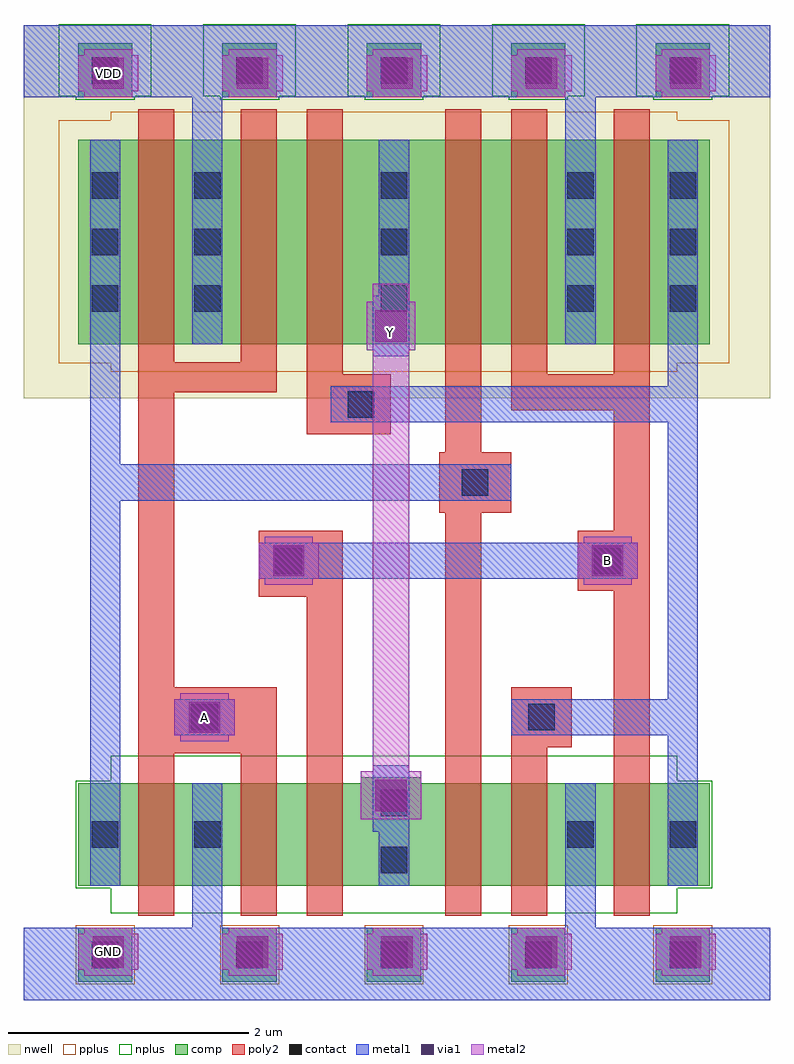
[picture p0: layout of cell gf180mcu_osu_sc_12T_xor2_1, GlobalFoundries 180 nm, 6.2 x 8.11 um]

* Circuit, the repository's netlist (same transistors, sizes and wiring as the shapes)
* HSPICE file created from gf180mcu_osu_sc_12T_xor2_1.ext - technology: gf180mcuC

.inc "../../../char/techfiles/design.hspice"
.lib "../../../char/techfiles/sm141064.hspice" typical

.GLOBAL VDD
.GLOBAL GND

.option scale=0.05u

.subckt gf180mcu_osu_sc_12T_xor2_1 A Y B
X0 Y B a_42_16 GND nmos_3p3 w=17 l=6
X1 VDD B a_76_106 VDD pmos_3p3 w=34 l=6
X2 a_47_91 B VDD VDD pmos_3p3 w=34 l=6
X3 a_76_106 a_9_16 Y VDD pmos_3p3 w=34 l=6
X4 Y a_47_91 a_42_106 VDD pmos_3p3 w=34 l=6
X5 a_42_106 A VDD VDD pmos_3p3 w=34 l=6
X6 VDD A a_9_16 VDD pmos_3p3 w=34 l=6
X7 GND A a_9_16 GND nmos_3p3 w=17 l=6
X8 a_76_16 a_9_16 Y GND nmos_3p3 w=17 l=6
X9 a_42_16 A GND GND nmos_3p3 w=17 l=6
X10 a_47_91 B GND GND nmos_3p3 w=17 l=6
X11 GND a_47_91 a_76_16 GND nmos_3p3 w=17 l=6
.ends

** hspice subcircuit dictionary

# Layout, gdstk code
import gdstk
lib = gdstk.Library(unit=1e-6, precision=1e-09)
def R(c, l, rs):  # rectangles x0, y0, x1, y1
    for r in rs: c.add(gdstk.rectangle(r[:2], r[2:], *l))
def A(c, l, x, y, w, h, nx, ny, dx, dy):  # array of equal rectangles
    R(c, l, [(x+i*dx, y+j*dy, x+i*dx+w, y+j*dy+h) for i in range(nx) for j in range(ny)])
nwell = (21, 0)
comp = (22, 0)
poly2 = (30, 0)
pplus = (31, 0)
nplus = (32, 0)
contact = (33, 0)
metal1 = (34, 0)
via1 = (35, 0)
metal2 = (36, 0)

gf180mcu_osu_sc_12t_xor2 = lib.new_cell('gf180mcu_osu_sc_12T_xor2_1')
R(gf180mcu_osu_sc_12t_xor2, nwell, [(0,4.85,6.2,7.95)])
A(gf180mcu_osu_sc_12t_xor2, comp, 0.45, 0, 0.45, 0.45, 5, 2, 1.2, 7.35)
R(gf180mcu_osu_sc_12t_xor2, comp, [(0.45,0.8,5.7,1.65), (2.8,1.65,3.3,1.7), (0.45,5.3,5.7,7)])
R(gf180mcu_osu_sc_12t_xor2, poly2, [(0.95,0.55,1.25,1.9), (1.8,0.55,2.1,1.9), (2.35,0.55,2.65,3.2), (3.5,0.55,3.8,3.9), (4.05,0.55,4.35,1.95), (4.9,0.55,5.2,3.25), (0.95,1.9,2.1,2.45), (4.05,1.95,4.55,2.45), (0.95,2.45,1.25,4.9), (1.95,3.2,2.65,3.75), (4.6,3.25,5.2,3.75), (4.9,3.75,5.2,4.75), (3.45,3.9,4.05,4.4), (3.5,4.4,3.8,7.25), (2.35,4.55,3.05,5.05), (4.05,4.75,5.2,5.05), (0.95,4.9,2.1,5.15), (2.35,5.05,2.65,7.25), (4.05,5.05,4.35,7.25), (4.9,5.05,5.2,7.25), (0.95,5.15,1.25,7.25), (1.8,5.15,2.1,7.25)])
A(gf180mcu_osu_sc_12t_xor2, pplus, 0.43, -0.02, 0.49, 0.49, 5, 1, 1.2, 0)
R(gf180mcu_osu_sc_12t_xor2, pplus, [(0.72,5.07,5.43,5.14), (0.29,5.14,5.86,7.16), (0.72,7.16,5.43,7.23)])
A(gf180mcu_osu_sc_12t_xor2, nplus, 0.43, 7.33, 0.49, 0.03, 5, 1, 1.2, 0)
A(gf180mcu_osu_sc_12t_xor2, nplus, 0.29, 7.36, 0.77, 0.6, 5, 1, 1.2, 0)
R(gf180mcu_osu_sc_12t_xor2, nplus, [(0.72,0.57,5.43,0.78), (0.43,0.78,5.72,1.67), (0.72,1.67,5.43,1.88)])
A(gf180mcu_osu_sc_12t_xor2, contact, 0.565, 0.115, 0.22, 0.22, 5, 2, 1.2, 7.35)
A(gf180mcu_osu_sc_12t_xor2, contact, 0.565, 5.57, 0.22, 0.22, 1, 3, 0, 0.47)
A(gf180mcu_osu_sc_12t_xor2, contact, 1.415, 5.57, 0.22, 0.22, 3, 3, 1.55, 0.47)
A(gf180mcu_osu_sc_12t_xor2, contact, 5.365, 5.57, 0.22, 0.22, 1, 3, 0, 0.47)
R(gf180mcu_osu_sc_12t_xor2, contact, [(2.965,0.905,3.185,1.125), (0.565,1.115,0.785,1.335), (1.415,1.115,1.635,1.335), (4.515,1.115,4.735,1.335), (5.365,1.115,5.585,1.335), (2.965,1.375,3.185,1.595), (1.39,2.09,1.61,2.31), (4.19,2.09,4.41,2.31), (2.09,3.39,2.31,3.61), (4.74,3.39,4.96,3.61), (3.64,4.04,3.86,4.26), (2.69,4.69,2.91,4.91)])
R(gf180mcu_osu_sc_12t_xor2, metal1, [(0,-0.15,6.2,0.45), (1.4,0.45,1.65,1.65), (4.5,0.45,4.75,1.65), (0.55,0.8,0.8,4), (2.95,0.8,3.2,1.25), (5.35,0.8,5.6,2.05), (2.9,1.25,3.2,1.8), (1.25,2.05,1.75,2.35), (4.05,2.05,5.6,2.35), (5.35,2.35,5.6,4.65), (1.95,3.35,5.1,3.65), (0.55,4,4.05,4.3), (0.55,4.3,0.8,7), (2.55,4.65,5.6,4.95), (5.35,4.95,5.6,7), (2.9,5.2,3.2,5.7), (1.4,5.3,1.65,7.35), (4.5,5.3,4.75,7.35), (2.95,5.7,3.2,7), (0,7.35,6.2,7.95)])
A(gf180mcu_osu_sc_12t_xor2, via1, 0.57, 0.12, 0.26, 0.26, 5, 2, 1.2, 7.3)
R(gf180mcu_osu_sc_12t_xor2, via1, [(2.92,1.42,3.18,1.68), (1.37,2.07,1.63,2.33), (2.07,3.37,2.33,3.63), (4.72,3.37,4.98,3.63), (2.92,5.32,3.18,5.58)])
A(gf180mcu_osu_sc_12t_xor2, metal2, 0.5, 0.05, 0.4, 0.05, 5, 2, 1.2, 0.35)
A(gf180mcu_osu_sc_12t_xor2, metal2, 0.45, 0.1, 0.5, 0.3, 5, 2, 1.2, 7.3)
A(gf180mcu_osu_sc_12t_xor2, metal2, 0.5, 7.35, 0.4, 0.05, 5, 2, 1.2, 0.35)
R(gf180mcu_osu_sc_12t_xor2, metal2, [(2.8,1.35,3.3,1.75), (2.9,1.75,3.2,5.25), (1.3,2,1.7,2.05), (1.25,2.05,1.75,2.35), (1.3,2.35,1.7,2.4), (2,3.3,2.4,3.35), (4.65,3.3,5.05,3.35), (1.95,3.35,2.45,3.65), (4.6,3.35,5.1,3.65), (2,3.65,2.4,3.7), (4.65,3.65,5.05,3.7), (2.85,5.25,3.25,5.65), (2.9,5.65,3.2,5.8)])
gf180mcu_osu_sc_12t_xor2.add(gdstk.Label('VDD', (0.7,7.55), layer=36, texttype=0))
gf180mcu_osu_sc_12t_xor2.add(gdstk.Label('GND', (0.7,0.25), layer=36, texttype=0))
gf180mcu_osu_sc_12t_xor2.add(gdstk.Label('A', (1.5,2.2), layer=36, texttype=10))
gf180mcu_osu_sc_12t_xor2.add(gdstk.Label('Y', (3.05,5.4), layer=36, texttype=10))
gf180mcu_osu_sc_12t_xor2.add(gdstk.Label('B', (4.85,3.5), layer=36, texttype=10))

lib.write_gds('gf180mcu_osu_sc_12T_xor2_1.gds')
